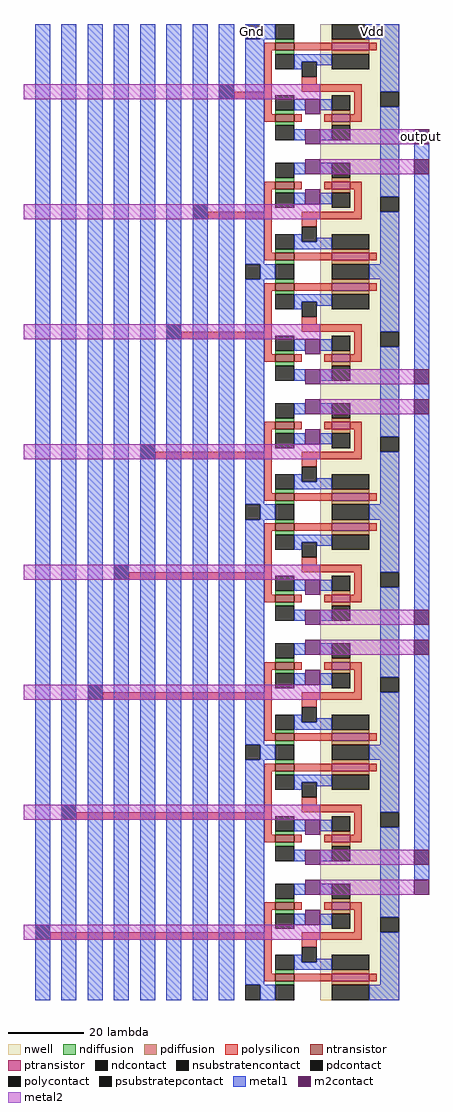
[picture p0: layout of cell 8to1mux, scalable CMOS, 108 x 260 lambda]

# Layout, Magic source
magic
tech scmos
<< polysilicon >>
rect -9 16 0 18
rect -16 -16 0 -14
rect -23 -48 -1 -46
rect -30 -80 -1 -78
rect -37 -112 -1 -110
rect -44 -144 -1 -142
rect -51 -176 0 -174
rect -58 -208 -1 -206
<< metal1 >>
rect -6 32 -2 36
rect 26 32 30 36
rect 39 -192 43 8
<< metal2 >>
rect 33 4 37 8
<< polycontact >>
rect -13 16 -9 20
rect -20 -16 -16 -12
rect -27 -48 -23 -44
rect -34 -80 -30 -76
rect -41 -112 -37 -108
rect -48 -144 -44 -140
rect -55 -176 -51 -172
rect -62 -208 -58 -204
use 8to1muxcell 8to1muxcell_0
transform 1 0 5 0 1 7
box -70 -7 38 29
use 8to1muxcell 8to1muxcell_1
transform 1 0 5 0 -1 -3
box -70 -7 38 29
use 8to1muxcell 8to1muxcell_2
transform 1 0 5 0 1 -57
box -70 -7 38 29
use 8to1muxcell 8to1muxcell_3
transform 1 0 5 0 -1 -67
box -70 -7 38 29
use 8to1muxcell 8to1muxcell_4
transform 1 0 5 0 1 -121
box -70 -7 38 29
use 8to1muxcell 8to1muxcell_5
transform 1 0 5 0 -1 -131
box -70 -7 38 29
use 8to1muxcell 8to1muxcell_6
transform 1 0 5 0 1 -185
box -70 -7 38 29
use 8to1muxcell 8to1muxcell_7
transform 1 0 5 0 -1 -195
box -70 -7 38 29
<< labels >>
rlabel metal1 -4 34 -4 34 5 Gnd
rlabel metal1 28 34 28 34 5 Vdd
rlabel metal1 41 6 41 6 7 output
<< end >>

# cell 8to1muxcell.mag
magic
tech scmos
<< nwell >>
rect 9 -7 30 29
<< polysilicon >>
rect -6 22 -3 24
rect 2 22 12 24
rect 22 22 24 24
rect -6 5 -4 22
rect 4 13 8 15
rect 4 11 20 13
rect 18 5 20 11
rect -6 3 -3 5
rect 2 3 4 5
rect 10 3 12 5
rect 17 3 20 5
<< ndiffusion >>
rect -3 24 2 25
rect -3 21 2 22
rect -3 5 2 6
rect -3 2 2 3
<< pdiffusion >>
rect 12 24 22 25
rect 12 21 22 22
rect 12 5 17 6
rect 12 2 17 3
<< metal1 >>
rect -67 -7 -63 29
rect -60 -7 -56 29
rect -53 -7 -49 29
rect -46 -7 -42 29
rect -39 -7 -35 29
rect -32 -7 -28 29
rect -25 -7 -21 29
rect -18 -7 -14 29
rect -7 25 -3 29
rect 22 25 30 29
rect -11 -7 -6 25
rect 2 19 12 21
rect 2 17 4 19
rect 8 18 12 19
rect 25 11 30 25
rect 2 6 5 9
rect 9 6 12 9
rect 2 -2 5 1
rect 9 -2 12 1
rect 25 -7 30 7
<< metal2 >>
rect -70 9 9 13
rect 9 -3 34 1
<< ntransistor >>
rect -3 22 2 24
rect -3 3 2 5
<< ptransistor >>
rect 12 22 22 24
rect 12 3 17 5
<< polycontact >>
rect 4 15 8 19
<< ndcontact >>
rect -3 25 2 29
rect -3 17 2 21
rect -3 6 2 10
rect -3 -2 2 2
<< pdcontact >>
rect 12 25 22 29
rect 12 17 22 21
rect 12 6 17 10
rect 12 -2 17 2
<< m2contact >>
rect 5 5 9 9
rect 5 -3 9 1
rect 34 -3 38 1
<< psubstratepcontact >>
rect -11 25 -7 29
<< nsubstratencontact >>
rect 25 7 30 11
<< labels >>
rlabel psubstratepcontact -9 21 -9 21 1 Gnd
rlabel m2contact 7 -1 7 -1 1 out
rlabel m2contact 7 7 7 7 1 in
rlabel metal1 27 20 27 20 7 Vdd
<< end >>
